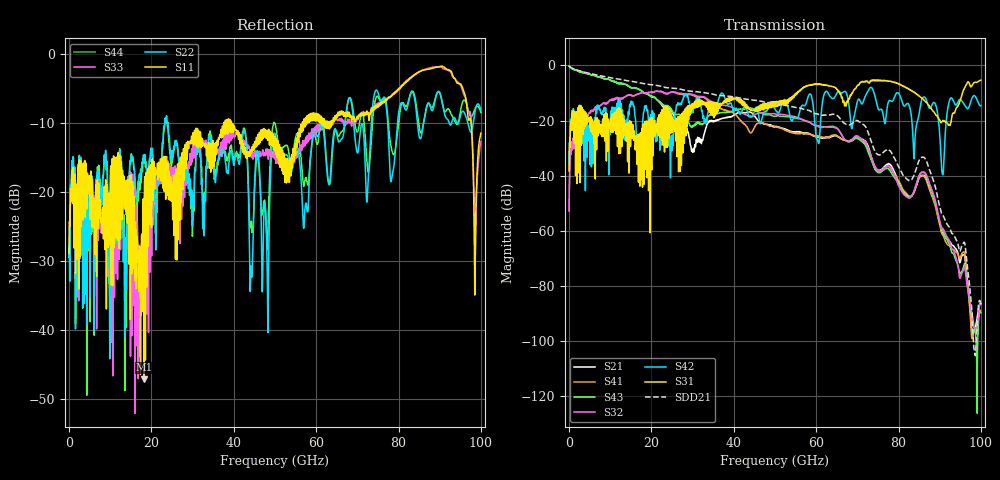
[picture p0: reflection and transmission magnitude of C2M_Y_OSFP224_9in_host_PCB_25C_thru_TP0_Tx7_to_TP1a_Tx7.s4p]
# GHz S RI R 45
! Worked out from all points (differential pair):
!   4000 points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, 25 MHz to 100 GHz, reference 45 ohm
!   strongest paths, dB at 25 MHz, 25.02 GHz, 50.02 GHz, 75.03 GHz, 100 GHz:
!     S31: -38.3, -22.6, -13.3, -5.3, -5.3
!     S42: -38.2, -30.2, -15.9, -15.6, -14.6
!     S32: -52.8, -9.6, -17.6, -38.2, -86.6
!     S43: -0.3, -16.4, -18.4, -38.8, -89.6
!     S41: -52.8, -9.6, -22.1, -38.6, -89.5
!     S21: -0.3, -17.1, -22.2, -37.9, -86.4
!   taken as a pair (ports 3,1 in; 4,2 out), SDD21 dB: -0.3, -8.3, -13.9, -32.3, -86.6
!   lowest |S11| = -47.2 dB at 18.18 GHz (marker M1), VSWR 1.01, Z = 44.6 - j0.0735 ohm
!   |S11| at or under -10 dB: start of sweep to 37.58 GHz; 39.46 GHz to 56.64 GHz (17.19 GHz wide, 35.8 % of centre); 97.62 GHz to end of sweep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
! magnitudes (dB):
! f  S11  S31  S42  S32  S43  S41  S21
! 25 MHz  -29.0  -38.3  -38.2  -52.8  -0.3  -52.8  -0.3
! 2.4 GHz  -21.4  -19.0  -18.0  -20.6  -2.1  -20.6  -2.1
! 18.18 GHz  -47.2  -31.9  -16.9  -9.9  -9.8  -9.9  -9.9
! 86.25 GHz  -2.3  -12.6  -11.5  -38.7  -39.0  -40.3  -40.0
! 90.67 GHz  -1.8  -20.2  -39.5  -59.0  -59.6  -61.4  -60.6
! 92.6 GHz  -2.4  -21.2  -12.0  -64.6  -66.0  -65.7  -64.1
! 100 GHz  -11.5  -5.3  -14.6  -86.6  -89.6  -89.5  -86.4
